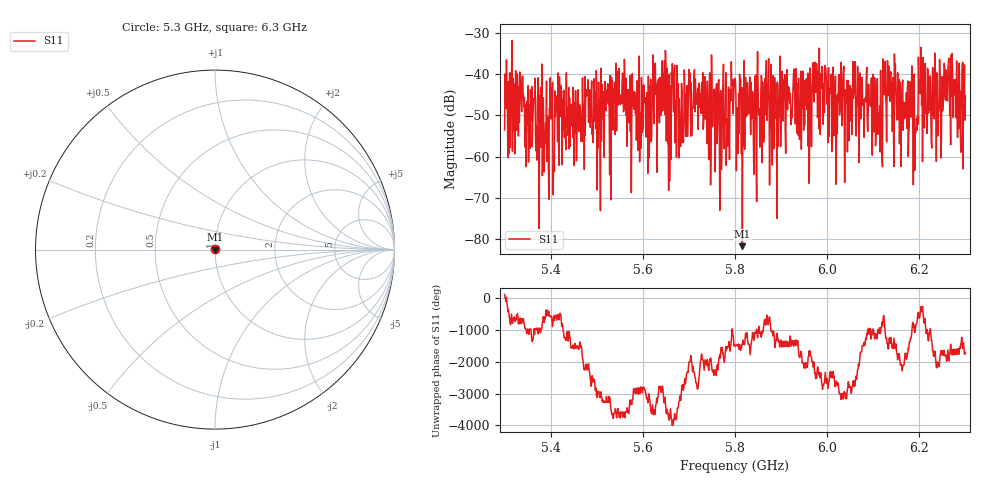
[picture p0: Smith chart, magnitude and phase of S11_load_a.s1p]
! NanoVNA-App
! Date: 2026-11-04 23:57:24
! Start: 5,3GHz Stop: 6,3GHz Points: 1001
! S-Parameter data: F S11
# Hz S RI R 50
!  Frequency  S11_Real  S11_Imag
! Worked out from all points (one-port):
!   1001 points, 5.3 GHz to 6.3 GHz, reference 50 ohm
!   lowest |S11| = -81.7 dB at 5.816 GHz (marker M1), VSWR 1.00, Z = 50 + j0.00171 ohm
!   |S11| at or under -10 dB: start of sweep to end of sweep
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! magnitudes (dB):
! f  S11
! 5.3 GHz  -53.5
! 5.338 GHz  -45.4
! 5.391 GHz  -41.7
! 5.425 GHz  -62.0
! 5.484 GHz  -43.7
! 5.506 GHz  -46.1
! 5.55 GHz  -46.1
! 5.591 GHz  -53.3
! 5.645 GHz  -39.8
! 5.656 GHz  -68.2
! 5.664 GHz  -37.4
! 5.675 GHz  -41.3
! 5.714 GHz  -41.2
! 5.766 GHz  -53.1
! 5.8 GHz  -41.4
! 5.816 GHz  -81.7
! 5.925 GHz  -46.4
! 5.961 GHz  -66.5
! 5.973 GHz  -38.1
! 6.015 GHz  -54.9
! 6.031 GHz  -38.8
! 6.05 GHz  -44.2
! 6.115 GHz  -58.9
! 6.135 GHz  -44.3
! 6.175 GHz  -41.7
! 6.192 GHz  -54.4
! 6.203 GHz  -43.2
! 6.3 GHz  -45.3
